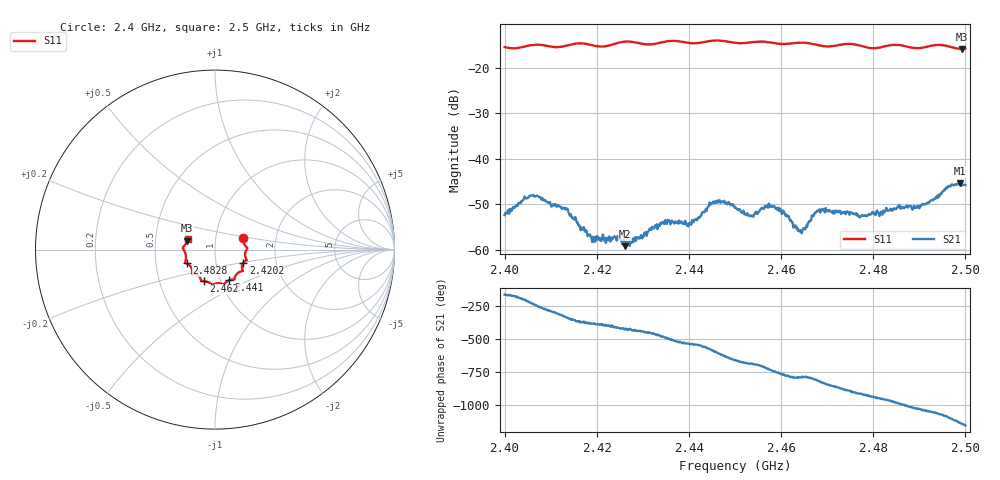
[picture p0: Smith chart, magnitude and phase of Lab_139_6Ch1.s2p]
# Hz S RI R 50
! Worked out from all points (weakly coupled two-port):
!   601 points, 2.4 GHz to 2.5 GHz, reference 50 ohm
!   highest |S21| = -45.40 dB at 2.4988 GHz (marker M1); lowest = -59.2 dB at 2.4262 GHz (marker M2)
!   lowest |S11| = -15.8 dB at 2.4992 GHz (marker M3), VSWR 1.39, Z = 36.4 + j3.72 ohm
!   |S11| at or under -10 dB: start of sweep to end of sweep
!   S12 and S22 are empty: the file has one direction only
!   S11 on the Smith chart (normalised r, x): 2.4 GHz: 1.36, +0.17; 2.4202 GHz: 1.36, -0.20; 2.441 GHz: 1.10, -0.39; 2.462 GHz: 0.83, -0.30; 2.4828 GHz: 0.72, -0.11; 2.5 GHz: 0.73, +0.09
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2.4e9  0.1582 0.0621  -0.00223 -0.000868  0 0  0 0
2.406667e9  0.1801 0.00988  -0.00199 0.0033  0 0  0 0
2.413167e9  0.1701 -0.0416  0.0024 0.00137  0 0  0 0
2.416667e9  0.1768 -0.0605  0.00171 -0.000331  0 0  0 0
2.420167e9  0.1579 -0.0719  0.00118 -0.000562  0 0  0 0
2.426167e9  0.1562 -0.1177  0.000546 -0.000944  0 0  0 0
2.433333e9  0.1117 -0.1511  -0.000487 -0.00182  0 0  0 0
2.441e9  0.078 -0.1702  -0.002 -2.24e-05  0 0  0 0
2.445e9  0.0524 -0.1927  -0.00229 0.00233  0 0  0 0
2.45e9  0.0277 -0.1875  0.00148 0.00247  0 0  0 0
2.4535e9  -0.00434 -0.192  0.00196 0.00135  0 0  0 0
2.457833e9  -0.0247 -0.189  0.00293 -0.000896  0 0  0 0
2.462e9  -0.0609 -0.1756  0.000776 -0.00192  0 0  0 0
2.464167e9  -0.0739 -0.1755  0.000494 -0.00157  0 0  0 0
2.466667e9  -0.0789 -0.1678  0.000474 -0.00232  0 0  0 0
2.469167e9  -0.0891 -0.1497  -0.00111 -0.00248  0 0  0 0
2.482833e9  -0.1572 -0.0767  -0.00132 0.00257  0 0  0 0
2.483333e9  -0.1602 -0.0753  -0.00101 0.00249  0 0  0 0
2.49e9  -0.1641 -0.0233  0.00197 0.00205  0 0  0 0
2.498833e9  -0.1565 0.0449  0.00269 -0.00465  0 0  0 0
2.499167e9  -0.1549 0.0497  0.00217 -0.00458  0 0  0 0
2.5e9  -0.1524 0.0614  0.000961 -0.00504  0 0  0 0
